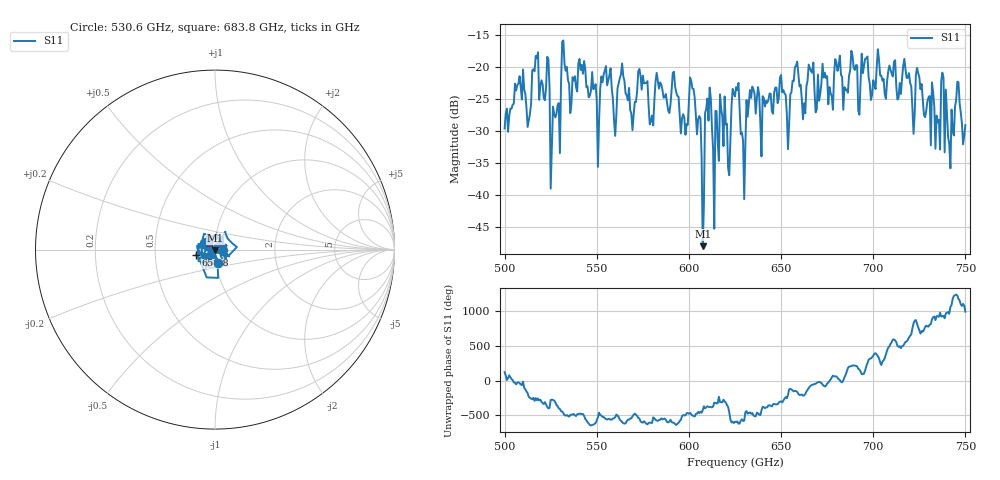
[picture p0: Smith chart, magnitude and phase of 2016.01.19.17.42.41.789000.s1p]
!Created with skrf (http://scikit-rf.org).
# GHz S RI R 50.0
!freq ReS11 ImS11
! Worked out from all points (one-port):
!   401 points, 500 GHz to 750 GHz, reference 50 ohm
!   lowest |S11| = -47.9 dB at 607.5 GHz (marker M1), VSWR 1.01, Z = 50.2 - j0.36 ohm
!   |S11| at or under -10 dB: start of sweep to end of sweep
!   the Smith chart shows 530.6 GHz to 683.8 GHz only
!   S11 on the Smith chart (normalised r, x): 530.6 GHz: 1.02, -0.15; 658.8 GHz: 0.81, -0.05; 683.8 GHz: 1.10, +0.00
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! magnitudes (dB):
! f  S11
! 500 GHz  -29.6
! 506.9 GHz  -22.8
! 513.1 GHz  -28.3
! 516.9 GHz  -18.2
! 523.1 GHz  -18.4
! 526.2 GHz  -26.2
! 530.6 GHz  -22.3
! 531.2 GHz  -16.0
! 550.6 GHz  -35.6
! 562.5 GHz  -21.7
! 569.4 GHz  -29.8
! 573.8 GHz  -21.4
! 579.4 GHz  -28.4
! 583.1 GHz  -22.1
! 593.8 GHz  -24.5
! 601.9 GHz  -23.3
! 607.5 GHz  -47.9
! 610.6 GHz  -28.3
! 621.2 GHz  -35.7
! 625 GHz  -24.6
! 629.4 GHz  -31.5
! 634.4 GHz  -23.0
! 656.2 GHz  -22.1
! 658.8 GHz  -19.1
! 683.8 GHz  -26.6
! 687.5 GHz  -20.5
! 718.8 GHz  -21.6
! 750 GHz  -29.0
